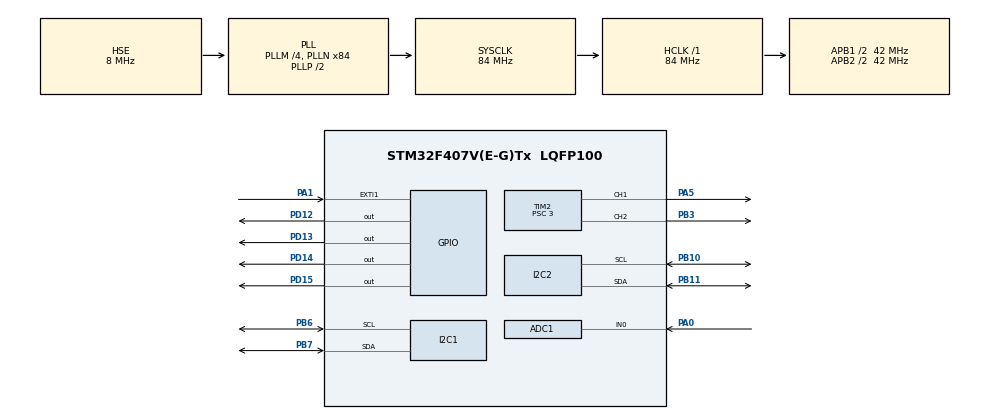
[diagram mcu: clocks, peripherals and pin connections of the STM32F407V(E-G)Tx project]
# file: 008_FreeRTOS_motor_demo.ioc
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ADC1.Channel-2\#ChannelRegularConversion=ADC_CHANNEL_0
ADC1.ContinuousConvMode=ENABLE
ADC1.NbrOfConversionFlag=1
ADC1.Rank-2\#ChannelRegularConversion=1
ADC1.SamplingTime-2\#ChannelRegularConversion=ADC_SAMPLETIME_3CYCLES
ADC1.master=1
FREERTOS.Tasks01=defaultTask,0,128,StartDefaultTask,Default,NULL,Dynamic,NULL,NULL;myTask02,0,128,lcdTask,Default,NULL,Dynamic,NULL,NULL;myTask03,0,128,potTask,Default,NULL,Dynamic,NULL,NULL;myTask04,0,128,motorTask,Default,NULL,Dynamic,NULL,NULL
FREERTOS.configUSE_NEWLIB_REENTRANT=1
Mcu.Family=STM32F4
Mcu.Name=STM32F407V(E-G)Tx
Mcu.Package=LQFP100
NVIC.EXTI1_IRQn=true\:5\:0\:false\:false\:true\:true\:true\:true\:true
NVIC.PriorityGroup=NVIC_PRIORITYGROUP_4
NVIC.TIM1_UP_TIM10_IRQn=true\:15\:0\:false\:false\:true\:false\:false\:true\:true
NVIC.TimeBase=TIM1_UP_TIM10_IRQn
NVIC.TimeBaseIP=TIM1
PA0-WKUP.Signal=ADCx_IN0
PA1.Signal=GPXTI1
PA13.Mode=Serial_Wire
PA13.Signal=SYS_JTMS-SWDIO
PA14.Mode=Serial_Wire
PA14.Signal=SYS_JTCK-SWCLK
PA5.Signal=S_TIM2_CH1_ETR
PB10.Mode=I2C
PB10.Signal=I2C2_SCL
PB11.Mode=I2C
PB11.Signal=I2C2_SDA
PB3.Signal=S_TIM2_CH2
PB6.Mode=I2C
PB6.Signal=I2C1_SCL
PB7.Mode=I2C
PB7.Signal=I2C1_SDA
PD12.Signal=GPIO_Output
PD13.Signal=GPIO_Output
PD14.Signal=GPIO_Output
PD15.Signal=GPIO_Output
PH0-OSC_IN.Mode=HSE-External-Oscillator
PH0-OSC_IN.Signal=RCC_OSC_IN
PH1-OSC_OUT.Mode=HSE-External-Oscillator
PH1-OSC_OUT.Signal=RCC_OSC_OUT
ProjectManager.HeapSize=0x200
ProjectManager.StackSize=0x400
ProjectManager.TargetToolchain=STM32CubeIDE
RCC.48MHZClocksFreq_Value=24000000
RCC.AHBFreq_Value=84000000
RCC.APB1CLKDivider=RCC_HCLK_DIV2
RCC.APB1Freq_Value=42000000
RCC.APB1TimFreq_Value=84000000
RCC.APB2CLKDivider=RCC_HCLK_DIV2
RCC.APB2Freq_Value=42000000
RCC.APB2TimFreq_Value=84000000
RCC.CortexFreq_Value=84000000
RCC.HCLKFreq_Value=84000000
RCC.HSE_VALUE=8000000
RCC.HSI_VALUE=16000000
RCC.PLLM=4
RCC.PLLN=84
RCC.PLLQ=7
RCC.PLLSourceVirtual=RCC_PLLSOURCE_HSE
RCC.SYSCLKFreq_VALUE=84000000
RCC.SYSCLKSource=RCC_SYSCLKSOURCE_PLLCLK
RCC.VCOOutputFreq_Value=168000000
SH.ADCx_IN0.0=ADC1_IN0,IN0
SH.S_TIM2_CH1_ETR.0=TIM2_CH1,PWM Generation1 CH1
SH.S_TIM2_CH2.0=TIM2_CH2,PWM Generation2 CH2
TIM2.AutoReloadPreload=TIM_AUTORELOAD_PRELOAD_ENABLE
TIM2.Channel-PWM\ Generation1\ CH1=TIM_CHANNEL_1
TIM2.Channel-PWM\ Generation2\ CH2=TIM_CHANNEL_2
TIM2.Period=1049
TIM2.Prescaler=3
VP_FREERTOS_VS_CMSIS_V1.Mode=CMSIS_V1
VP_SYS_VS_tim1.Mode=TIM1
VP_TIM2_VS_ClockSourceINT.Mode=Internal
board=STM32F407G-DISC1

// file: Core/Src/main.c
/* USER CODE BEGIN Header */
/**
  ******************************************************************************
  * @file           : main.c
  * @brief          : Main program body
  ******************************************************************************
  * @attention
  *
  * Copyright (c) 2025 STMicroelectronics.
  * All rights reserved.
  *
  * This software is licensed under terms that can be found in the LICENSE file
  * in the root directory of this software component.
  * If no LICENSE file comes with this software, it is provided AS-IS.
  *
  ******************************************************************************
  */
/* USER CODE END Header */
#include "main.h"
#include "cmsis_os.h"
#include "adxl.h"
#include "lcd.h"

ADC_HandleTypeDef hadc1;

I2C_HandleTypeDef hi2c1;
I2C_HandleTypeDef hi2c2;

TIM_HandleTypeDef htim2;

osThreadId defaultTaskHandle;
osThreadId myTask02Handle;
osThreadId myTask03Handle;
osThreadId myTask04Handle;
/* USER CODE BEGIN PV */

#define MAX_ADC 4095

uint16_t adc_val = 0;   // ham adc değeri 0-4095 arası pottan okunan değer
int adc_val_scale = 0;
int target_deg=0;

char lcd_buffer_tar[32];
char lcd_buffer_roll[32];

volatile uint8_t nvic_button = 0;

float roll ;
float pitch;
int16_t x,y,z;

/* USER CODE END PV */

void SystemClock_Config(void);
static void MX_GPIO_Init(void);
static void MX_ADC1_Init(void);
static void MX_I2C1_Init(void);
static void MX_TIM2_Init(void);
static void MX_I2C2_Init(void);
void StartDefaultTask(void const * argument);
void lcdTask(void const * argument);
void potTask(void const * argument);
void motorTask(void const * argument);

int main(void)
{

  /* MCU Configuration--------------------------------------------------------*/

  /* Reset of all peripherals, Initializes the Flash interface and the Systick. */
  HAL_Init();

  /* Configure the system clock */
  SystemClock_Config();

  /* Initialize all configured peripherals */
  MX_GPIO_Init();
  MX_ADC1_Init();
  MX_I2C1_Init();
  MX_TIM2_Init();
  MX_I2C2_Init();

  /* Create the thread(s) */
  /* definition and creation of defaultTask */
  osThreadDef(defaultTask, StartDefaultTask, osPriorityNormal, 0, 128);
  defaultTaskHandle = osThreadCreate(osThread(defaultTask), NULL);

  /* definition and creation of myTask02 */
  osThreadDef(myTask02, lcdTask, osPriorityNormal, 0, 128);
  myTask02Handle = osThreadCreate(osThread(myTask02), NULL);

  /* definition and creation of myTask03 */
  osThreadDef(myTask03, potTask, osPriorityNormal, 0, 128);
  myTask03Handle = osThreadCreate(osThread(myTask03), NULL);

  /* definition and creation of myTask04 */
  osThreadDef(myTask04, motorTask, osPriorityNormal, 0, 128);
  myTask04Handle = osThreadCreate(osThread(myTask04), NULL);

  /* Start scheduler */
  osKernelStart();

  /* We should never get here as control is now taken by the scheduler */

  /* Infinite loop */
  while (1)
  {

  }
}

void SystemClock_Config(void)
{
  RCC_OscInitTypeDef RCC_OscInitStruct = {0};
  RCC_ClkInitTypeDef RCC_ClkInitStruct = {0};

  /** Configure the main internal regulator output voltage
  */
  __HAL_RCC_PWR_CLK_ENABLE();
  __HAL_PWR_VOLTAGESCALING_CONFIG(PWR_REGULATOR_VOLTAGE_SCALE1);

  /** Initializes the RCC Oscillators according to the specified parameters
  * in the RCC_OscInitTypeDef structure.
  */
  RCC_OscInitStruct.OscillatorType = RCC_OSCILLATORTYPE_HSE;
  RCC_OscInitStruct.HSEState = RCC_HSE_ON;
  RCC_OscInitStruct.PLL.PLLState = RCC_PLL_ON;
  RCC_OscInitStruct.PLL.PLLSource = RCC_PLLSOURCE_HSE;
  RCC_OscInitStruct.PLL.PLLM = 4;
  RCC_OscInitStruct.PLL.PLLN = 84;
  RCC_OscInitStruct.PLL.PLLP = RCC_PLLP_DIV2;
  RCC_OscInitStruct.PLL.PLLQ = 7;
  if (HAL_RCC_OscConfig(&RCC_OscInitStruct) != HAL_OK)
  {
    Error_Handler();
  }

  /** Initializes the CPU, AHB and APB buses clocks
  */
  RCC_ClkInitStruct.ClockType = RCC_CLOCKTYPE_HCLK|RCC_CLOCKTYPE_SYSCLK
                              |RCC_CLOCKTYPE_PCLK1|RCC_CLOCKTYPE_PCLK2;
  RCC_ClkInitStruct.SYSCLKSource = RCC_SYSCLKSOURCE_PLLCLK;
  RCC_ClkInitStruct.AHBCLKDivider = RCC_SYSCLK_DIV1;
  RCC_ClkInitStruct.APB1CLKDivider = RCC_HCLK_DIV2;
  RCC_ClkInitStruct.APB2CLKDivider = RCC_HCLK_DIV2;

  if (HAL_RCC_ClockConfig(&RCC_ClkInitStruct, FLASH_LATENCY_2) != HAL_OK)
  {
    Error_Handler();
  }
}

static void MX_ADC1_Init(void)
{

  ADC_ChannelConfTypeDef sConfig = {0};

  /** Configure the global features of the ADC (Clock, Resolution, Data Alignment and number of conversion)
  */
  hadc1.Instance = ADC1;
  hadc1.Init.ClockPrescaler = ADC_CLOCK_SYNC_PCLK_DIV2;
  hadc1.Init.Resolution = ADC_RESOLUTION_12B;
  hadc1.Init.ScanConvMode = DISABLE;
  hadc1.Init.ContinuousConvMode = DISABLE;
  hadc1.Init.DiscontinuousConvMode = DISABLE;
  hadc1.Init.ExternalTrigConvEdge = ADC_EXTERNALTRIGCONVEDGE_NONE;
  hadc1.Init.ExternalTrigConv = ADC_SOFTWARE_START;
  hadc1.Init.DataAlign = ADC_DATAALIGN_RIGHT;
  hadc1.Init.NbrOfConversion = 1;
  hadc1.Init.DMAContinuousRequests = DISABLE;
  hadc1.Init.EOCSelection = ADC_EOC_SINGLE_CONV;
  if (HAL_ADC_Init(&hadc1) != HAL_OK)
  {
    Error_Handler();
  }

  /** Configure for the selected ADC regular channel its corresponding rank in the sequencer and its sample time.
  */
  sConfig.Channel = ADC_CHANNEL_0;
  sConfig.Rank = 1;
  sConfig.SamplingTime = ADC_SAMPLETIME_3CYCLES;
  if (HAL_ADC_ConfigChannel(&hadc1, &sConfig) != HAL_OK)
  {
    Error_Handler();
  }

}

static void MX_I2C1_Init(void)
{

  hi2c1.Instance = I2C1;
  hi2c1.Init.ClockSpeed = 100000;
  hi2c1.Init.DutyCycle = I2C_DUTYCYCLE_2;
  hi2c1.Init.OwnAddress1 = 0;
  hi2c1.Init.AddressingMode = I2C_ADDRESSINGMODE_7BIT;
  hi2c1.Init.DualAddressMode = I2C_DUALADDRESS_DISABLE;
  hi2c1.Init.OwnAddress2 = 0;
  hi2c1.Init.GeneralCallMode = I2C_GENERALCALL_DISABLE;
  hi2c1.Init.NoStretchMode = I2C_NOSTRETCH_DISABLE;
  if (HAL_I2C_Init(&hi2c1) != HAL_OK)
  {
    Error_Handler();
  }

}

static void MX_I2C2_Init(void)
{

  hi2c2.Instance = I2C2;
  hi2c2.Init.ClockSpeed = 100000;
  hi2c2.Init.DutyCycle = I2C_DUTYCYCLE_2;
  hi2c2.Init.OwnAddress1 = 0;
  hi2c2.Init.AddressingMode = I2C_ADDRESSINGMODE_7BIT;
  hi2c2.Init.DualAddressMode = I2C_DUALADDRESS_DISABLE;
  hi2c2.Init.OwnAddress2 = 0;
  hi2c2.Init.GeneralCallMode = I2C_GENERALCALL_DISABLE;
  hi2c2.Init.NoStretchMode = I2C_NOSTRETCH_DISABLE;
  if (HAL_I2C_Init(&hi2c2) != HAL_OK)
  {
    Error_Handler();
  }

}

static void MX_TIM2_Init(void)
{

  TIM_ClockConfigTypeDef sClockSourceConfig = {0};
  TIM_MasterConfigTypeDef sMasterConfig = {0};
  TIM_OC_InitTypeDef sConfigOC = {0};

  htim2.Instance = TIM2;
  htim2.Init.Prescaler = 3;
  htim2.Init.CounterMode = TIM_COUNTERMODE_UP;
  htim2.Init.Period = 1049;
  htim2.Init.ClockDivision = TIM_CLOCKDIVISION_DIV1;
  htim2.Init.AutoReloadPreload = TIM_AUTORELOAD_PRELOAD_ENABLE;
  if (HAL_TIM_Base_Init(&htim2) != HAL_OK)
  {
    Error_Handler();
  }
  sClockSourceConfig.ClockSource = TIM_CLOCKSOURCE_INTERNAL;
  if (HAL_TIM_ConfigClockSource(&htim2, &sClockSourceConfig) != HAL_OK)
  {
    Error_Handler();
  }
  if (HAL_TIM_PWM_Init(&htim2) != HAL_OK)
  {
    Error_Handler();
  }
  sMasterConfig.MasterOutputTrigger = TIM_TRGO_RESET;
  sMasterConfig.MasterSlaveMode = TIM_MASTERSLAVEMODE_DISABLE;
  if (HAL_TIMEx_MasterConfigSynchronization(&htim2, &sMasterConfig) != HAL_OK)
  {
    Error_Handler();
  }
  sConfigOC.OCMode = TIM_OCMODE_PWM1;
  sConfigOC.Pulse = 0;
  sConfigOC.OCPolarity = TIM_OCPOLARITY_HIGH;
  sConfigOC.OCFastMode = TIM_OCFAST_DISABLE;
  if (HAL_TIM_PWM_ConfigChannel(&htim2, &sConfigOC, TIM_CHANNEL_1) != HAL_OK)
  {
    Error_Handler();
  }
  if (HAL_TIM_PWM_ConfigChannel(&htim2, &sConfigOC, TIM_CHANNEL_2) != HAL_OK)
  {
    Error_Handler();
  }
  HAL_TIM_MspPostInit(&htim2);

}

static void MX_GPIO_Init(void)
{
  GPIO_InitTypeDef GPIO_InitStruct = {0};

  /* GPIO Ports Clock Enable */
  __HAL_RCC_GPIOH_CLK_ENABLE();
  __HAL_RCC_GPIOA_CLK_ENABLE();
  __HAL_RCC_GPIOB_CLK_ENABLE();
  __HAL_RCC_GPIOD_CLK_ENABLE();

  /*Configure GPIO pin Output Level */
  HAL_GPIO_WritePin(GPIOD, GPIO_PIN_12|GPIO_PIN_13|GPIO_PIN_14|GPIO_PIN_15, GPIO_PIN_RESET);

  /*Configure GPIO pin : PA1 */
  GPIO_InitStruct.Pin = GPIO_PIN_1;
  GPIO_InitStruct.Mode = GPIO_MODE_IT_RISING;
  GPIO_InitStruct.Pull = GPIO_PULLUP;
  HAL_GPIO_Init(GPIOA, &GPIO_InitStruct);

  /*Configure GPIO pins : PD12 PD13 PD14 PD15 */
  GPIO_InitStruct.Pin = GPIO_PIN_12|GPIO_PIN_13|GPIO_PIN_14|GPIO_PIN_15;
  GPIO_InitStruct.Mode = GPIO_MODE_OUTPUT_PP;
  GPIO_InitStruct.Pull = GPIO_NOPULL;
  GPIO_InitStruct.Speed = GPIO_SPEED_FREQ_LOW;
  HAL_GPIO_Init(GPIOD, &GPIO_InitStruct);

  /* EXTI interrupt init*/
  HAL_NVIC_SetPriority(EXTI1_IRQn, 5, 0);
  HAL_NVIC_EnableIRQ(EXTI1_IRQn);

}

void StartDefaultTask(void const * argument)
{
  /* USER CODE BEGIN 5 */
	  adxl345_init(&hi2c2);

  /* Infinite loop */
  for(;;)
  {

	  adxl345_read_xyz(&x, &y, &z);

	  adxl345_get_angles(&roll, &pitch);

    osDelay(1);

  }
  /* USER CODE END 5 */
}

void lcdTask(void const * argument)
{
  /* USER CODE BEGIN lcdTask */

	  LCD_Init();
	  LCD_Send_Cmd(LCD_CLEAR_DISPLAY);
  /* Infinite loop */
  for(;;)
  {

		  if(nvic_button == 1)
		  {
			  LCD_Send_Cmd(0x01);
			  LCD_Send_String_On_Line1("motor activated");
			  osDelay(2000);
			  LCD_Send_Cmd(0x01);

			  nvic_button = 0;
		  }else
		  {

			  sprintf(lcd_buffer_tar,"TargetDeg: %4d",adc_val_scale);
			  LCD_Send_String_On_Line1(lcd_buffer_tar);

			  sprintf(lcd_buffer_roll,"PitchDeg: %4d",(int)pitch);		//  paramtere düzelt
			  LCD_Send_String_On_Line2(lcd_buffer_roll);

			  osDelay(200);
		  }

    osDelay(1);
  }
  /* USER CODE END lcdTask */
}

void potTask(void const * argument)
{
  /* USER CODE BEGIN potTask */
  /* Infinite loop */
  for(;;)
  {
	  HAL_ADC_Start(&hadc1);

	  if(HAL_ADC_PollForConversion(&hadc1, 20) ==HAL_OK)
	  {
		  adc_val = HAL_ADC_GetValue(&hadc1);
	  }

	  if(adc_val > 2048)
	  {
		  adc_val_scale = ((adc_val - 2048) / 45.5111 );
	  }
	  if(adc_val <= 2048)
	  {
		  adc_val_scale = ((adc_val - 2048) / 45.5111);
	  }

    osDelay(50);
  }
  /* USER CODE END potTask */
}

void motorTask(void const * argument)
{
  for(;;)
  {
    osDelay(1);
  }
}

void HAL_TIM_PeriodElapsedCallback(TIM_HandleTypeDef *htim)
{
  if (htim->Instance == TIM1)
  {
    HAL_IncTick();
  }
}

void Error_Handler(void)
{
  __disable_irq();
  while (1)
  {
  }
}
